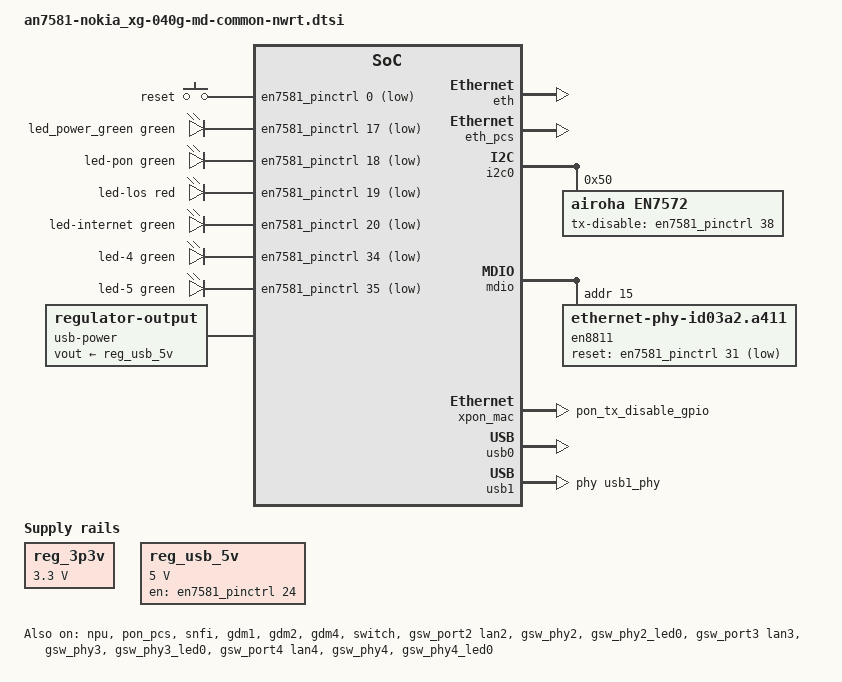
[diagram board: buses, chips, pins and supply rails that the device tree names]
// SPDX-License-Identifier: GPL-2.0-only OR MIT

/dts-v1/;
#include <dt-bindings/leds/common.h>
#include <dt-bindings/gpio/gpio.h>
#include <dt-bindings/input/input.h>
#include "an7581.dtsi"

/ {
	aliases {
		pon-calibration = &pon_calibration_storage;
		label-mac-device = &gdm1;

		led-boot = &led_power_green;
		led-failsafe = &led_power_green;
		led-running = &led_power_green;
		led-upgrade = &led_power_green;

		serial0 = &uart1;
	};

	keys {
		compatible = "gpio-keys";

		key-reset {
			label = "reset";
			linux,code = <KEY_RESTART>;
			/* The reset key is connected to active-low GPIO0. */
			gpios = <&en7581_pinctrl 0 GPIO_ACTIVE_LOW>;
			debounce-interval = <60>;
		};
	};

	leds {
		compatible = "gpio-leds";

		led_power_green: led-power {
			color = <LED_COLOR_ID_GREEN>;
			function = LED_FUNCTION_POWER;
			/* The active-low power LED is connected to GPIO17. */
			gpios = <&en7581_pinctrl 17 GPIO_ACTIVE_LOW>;
			default-state = "on";
			panic-indicator;
		};

		led-pon {
			color = <LED_COLOR_ID_GREEN>;
			function = LED_FUNCTION_WAN;
			/* The active-low PON status LED is connected to GPIO18. */
			gpios = <&en7581_pinctrl 18 GPIO_ACTIVE_LOW>;
			/* Registration maps O1-O3 to fast blink, O4 to slow blink, and O5 on. */
			linux,default-trigger = "pon0-registration";
		};

		led-los {
			color = <LED_COLOR_ID_RED>;
			function = LED_FUNCTION_WAN;
			/* The active-low LOS LED is connected to GPIO19. */
			gpios = <&en7581_pinctrl 19 GPIO_ACTIVE_LOW>;
			/* The pon0-los trigger drives the LOS LED. */
			linux,default-trigger = "pon0-los";
		};

		led-internet {
			color = <LED_COLOR_ID_GREEN>;
			function = LED_FUNCTION_WAN_ONLINE;
			/* The active-low Internet LED is connected to GPIO20. */
			gpios = <&en7581_pinctrl 20 GPIO_ACTIVE_LOW>;
			linux,default-trigger = "pon0-online";
		};

		led-4 {
			color = <LED_COLOR_ID_GREEN>;
			function = LED_FUNCTION_USB;
			function-enumerator = <2>;
			gpios = <&en7581_pinctrl 34 GPIO_ACTIVE_LOW>;
			linux,default-trigger = "usbport";
			trigger-sources = <&usb_port2>;
		};

		led-5 {
			color = <LED_COLOR_ID_GREEN>;
			function = LED_FUNCTION_USB;
			function-enumerator = <1>;
			gpios = <&en7581_pinctrl 35 GPIO_ACTIVE_LOW>;
			linux,default-trigger = "usbport";
			trigger-sources = <&usb_port1>;
		};
	};

	reg_3p3v: regulator-3p3v {
		compatible = "regulator-fixed";
		regulator-always-on;
		regulator-boot-on;
		regulator-max-microvolt = <3300000>;
		regulator-min-microvolt = <3300000>;
		regulator-name = "fixed-3.3V";
	};

	reg_usb_5v: regulator-usb-5v {
		compatible = "regulator-fixed";
		enable-active-high;
		gpio = <&en7581_pinctrl 24 GPIO_ACTIVE_HIGH>;
		regulator-boot-on;
		regulator-max-microvolt = <5000000>;
		regulator-min-microvolt = <5000000>;
		regulator-name = "usb-5v";
	};

	/*
	 * Controls both USB ports at once
	 */
	usb-power {
		compatible = "regulator-output";
		vout-supply = <&reg_usb_5v>;
	};
};

&en7581_pinctrl {
	gpio-ranges = <&en7581_pinctrl 0 13 50>;

	/* Select the PON mux while leaving GPIO38 under optical frontend control. */
	pon_pins: pon-pins {
		mux {
			function = "pon";
			groups = "pon_tx_disable_gpio";
		};
	};

	mdio_pins: mdio-pins {
		mux {
			function = "mdio";
			groups = "mdio";
		};

		conf {
			pins = "gpio2";
			output-high;
		};
	};

	pcie1_rst_pins: pcie1-rst-pins {
		conf {
			pins = "pcie_reset1";
			drive-open-drain = <1>;
		};
	};

	pcie2_rst_pins: pcie2-rst-pins {
		conf {
			pins = "pcie_reset2";
			drive-open-drain = <1>;
		};
	};

    gswp1_led0_pins: gswp1-led0-pins {
        mux {
            function = "phy1_led0";
            pins = "gpio33";
        };
    };

	gswp2_led0_pins: gswp2-led0-pins {
		mux {
			function = "phy2_led0";
			pins = "gpio44";
		};
	};

	gswp3_led0_pins: gswp3-led0-pins {
		mux {
			function = "phy3_led0";
			pins = "gpio45";
		};
	};

	gswp4_led0_pins: gswp4-led0-pins {
		mux {
			function = "phy4_led0";
			pins = "gpio46";
		};
	};
};

&eth {
	status = "okay";
};

&eth_pcs {
	status = "okay";
};

&i2c0 {

	status = "okay";

	/* The 0x50 window loads MD32 while the frontend owns runtime window 0x51. */
	en7572: optical-front-end@50 {
		compatible = "airoha,en7572";
		reg = <0x50>;

		/* GPIO38 is the active-high PHY_TX_POWER_DISABLE signal. */
		tx-disable-gpios = <&en7581_pinctrl 38 GPIO_ACTIVE_HIGH>;

		/* The 512 bytes after the bosa header contain per-device optical data. */
		nvmem-cells = <&pon_calibration>;
		nvmem-cell-names = "calibration";
	};
};

&npu {
	status = "okay";
};

&mdio {
	/* Airoha EN8811 2.5Gbps phy */
	en8811: ethernet-phy@f {
		compatible = "ethernet-phy-id03a2.a411";
		reg = <0xf>;

		reset-gpios = <&en7581_pinctrl 31 GPIO_ACTIVE_LOW>;
		/* Hold reset for 1 second and wait 100 ms before probing EN8811H. */
		reset-assert-us = <1000000>;
		reset-deassert-us = <100000>;

		leds {
			#address-cells = <1>;
			#size-cells = <0>;

			led-0 {
				reg = <0>;
				color = <LED_COLOR_ID_GREEN>;
				function = LED_FUNCTION_LAN;
				function-enumerator = <1>;
				default-state = "keep";
			};
		};
	};
};

&xpon_mac {
	pinctrl-names = "default";
	pinctrl-0 = <&pon_pins>;
	optical-front-end = <&en7572>;
	nvmem-cells = <&pon_serial>;
	nvmem-cell-names = "pon-serial";
	/* data-path references the GDM carrying service GEM traffic. */
	data-path = <&gdm2>;
	status = "okay";
};

&pon_pcs {
	status = "okay";
};

&snfi {
	status = "okay";
};

/*
 * SkyHigh ML02G300WHI00
 */
&spi_nand {
	/*
	 *  ECC must be aligned with bootloader to prevent read errors.
	 *  Stock fw also uses NAND_ECC_NONE.
	 */
	nand-ecc-mode = "none";
	nand-ecc-step-size = <2048>;
	nand-ecc-strength = <0>;

	partitions: partitions {
		compatible = "fixed-partitions";
		#address-cells = <1>;
		#size-cells = <1>;
	};
};

&gdm1 {
	status = "okay";

	nvmem-cell-names = "mac-address";
	nvmem-cells = <&macaddr_factory (0)>;
};

&gdm2 {
	/* GDM2 carries the PON GEM data plane on AN7581 and AN7583. */
	airoha,pon-data-path;
	/* WAN uses the eth0 MAC stored at RI offset 0x3e. */
	nvmem-cell-names = "mac-address";
	nvmem-cells = <&macaddr_factory (0)>;
	status = "okay";
};

&gdm4 {
	status = "okay";

	phy-handle = <&en8811>;
	phy-mode = "2500base-x";

	openwrt,netdev-name = "lan1";

	nvmem-cell-names = "mac-address";
	nvmem-cells = <&macaddr_factory (1)>;
};

&switch {
	status = "okay";

	pinctrl-names = "default";
	pinctrl-0 = <&mdio_pins>;
};

&gsw_port2 {
	status = "okay";

	label = "lan2";
};

&gsw_phy2 {
	status = "okay";

	pinctrl-names = "gbe-led";
	pinctrl-0 = <&gswp2_led0_pins>;
};

&gsw_phy2_led0 {
	status = "okay";

	color = <LED_COLOR_ID_GREEN>;
	function = LED_FUNCTION_LAN;
	function-enumerator = <2>;
	active-low;
};

&gsw_port3 {
	status = "okay";

	label = "lan3";
};

&gsw_phy3 {
	status = "okay";

	pinctrl-names = "gbe-led";
	pinctrl-0 = <&gswp3_led0_pins>;
};

&gsw_phy3_led0 {
	status = "okay";

	color = <LED_COLOR_ID_GREEN>;
	function = LED_FUNCTION_LAN;
	function-enumerator = <3>;
	active-low;
};

&gsw_port4 {
	status = "okay";

	label = "lan4";
};

&gsw_phy4 {
	status = "okay";

	pinctrl-names = "gbe-led";
	pinctrl-0 = <&gswp4_led0_pins>;
};

&gsw_phy4_led0 {
	status = "okay";

	color = <LED_COLOR_ID_GREEN>;
	function = LED_FUNCTION_LAN;
	function-enumerator = <4>;
	active-low;
};

&usb0 {
	status = "okay";

	vusb33-supply = <&reg_3p3v>;

	#address-cells = <1>;
	#size-cells = <0>;

	usb_port1: port@1 {
		reg = <1>;
		#trigger-source-cells = <0>;
	};
};

&usb1 {
	status = "okay";

	mediatek,u3p-dis-msk = <0x1>;
	phys = <&usb1_phy PHY_TYPE_USB2>;
	vusb33-supply = <&reg_3p3v>;

	#address-cells = <1>;
	#size-cells = <0>;

	usb_port2: port@1 {
		reg = <1>;
		#trigger-source-cells = <0>;
	};
};

&cpufreq {
	reg = <0x0 0x1fa20000 0x0 0x2c0>,	/* chip-scu */
	      <0x0 0x1efbe000 0x0 0x800>;	/* mcucfg */
	reg-names = "chip-scu", "mcucfg";
};
